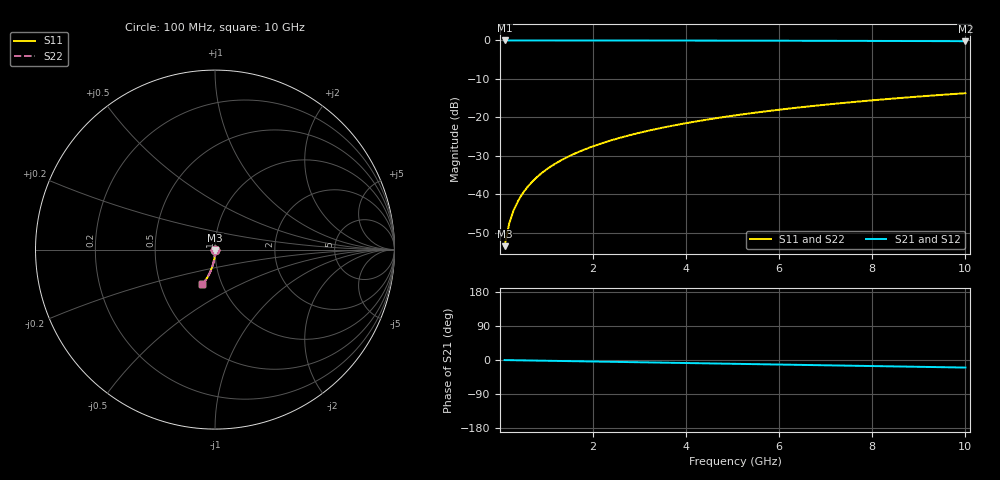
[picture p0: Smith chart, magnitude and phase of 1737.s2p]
# Hz S RI R 50.00
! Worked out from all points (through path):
!   100 points, 100 MHz to 10 GHz, reference 50 ohm
!   highest |S21| = 0.00 dB at 100 MHz (marker M1); lowest = -0.2 dB at 10 GHz (marker M2)
!   group delay of S21, straight-line fit = 5.55 ps
!   lowest |S11| = -53.6 dB at 100 MHz (marker M3), VSWR 1.00, Z = 50 - j0.209 ohm
!   |S11| at or under -10 dB: start of sweep to end of sweep
!   |S22| runs from -53.6 to -13.7 dB; largest |S21 - S12| = 0
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1e8  0.00018 -0.00209  0.9998 -0.00347  0.9998 -0.00347  0.00018 -0.00209
2e8  0.000157 -0.00419  0.9998 -0.00693  0.9998 -0.00693  0.000157 -0.00419
3e8  0.000119 -0.00628  0.9997 -0.0104  0.9997 -0.0104  0.000119 -0.00628
4e8  6.64e-05 -0.00837  0.9997 -0.0139  0.9997 -0.0139  6.64e-05 -0.00837
5e8  -9.78e-07 -0.0105  0.9996 -0.0173  0.9996 -0.0173  -9.78e-07 -0.0105
6e8  -8.29e-05 -0.0126  0.9995 -0.0208  0.9995 -0.0208  -8.29e-05 -0.0126
7e8  -0.000179 -0.0147  0.9994 -0.0243  0.9994 -0.0243  -0.000179 -0.0147
8e8  -0.000291 -0.0167  0.9993 -0.0277  0.9993 -0.0277  -0.000291 -0.0167
9e8  -0.000416 -0.0188  0.9991 -0.0312  0.9991 -0.0312  -0.000416 -0.0188
1.1e9  -0.000711 -0.023  0.9988 -0.0381  0.9988 -0.0381  -0.000711 -0.023
1.4e9  -0.00126 -0.0293  0.9982 -0.0485  0.9982 -0.0485  -0.00126 -0.0293
1.8e9  -0.0022 -0.0376  0.9971 -0.0624  0.9971 -0.0624  -0.0022 -0.0376
2.1e9  -0.00306 -0.0439  0.9961 -0.0728  0.9961 -0.0728  -0.00306 -0.0439
2.5e9  -0.00441 -0.0522  0.9946 -0.0866  0.9946 -0.0866  -0.00441 -0.0522
2.9e9  -0.00599 -0.0605  0.9928 -0.1004  0.9928 -0.1004  -0.00599 -0.0605
3.4e9  -0.0083 -0.0708  0.9902 -0.1176  0.9902 -0.1176  -0.0083 -0.0708
4.2e9  -0.0127 -0.0871  0.9852 -0.145  0.9852 -0.145  -0.0127 -0.0871
5.1e9  -0.0188 -0.1051  0.9783 -0.1756  0.9783 -0.1756  -0.0188 -0.1051
5.9e9  -0.0251 -0.1208  0.9711 -0.2025  0.9711 -0.2025  -0.0251 -0.1208
6.7e9  -0.0323 -0.136  0.9629 -0.229  0.9629 -0.229  -0.0323 -0.136
8.4e9  -0.0503 -0.1668  0.9424 -0.284  0.9424 -0.284  -0.0503 -0.1668
1e10  -0.0702 -0.1934  0.9194 -0.3336  0.9194 -0.3336  -0.0702 -0.1934
